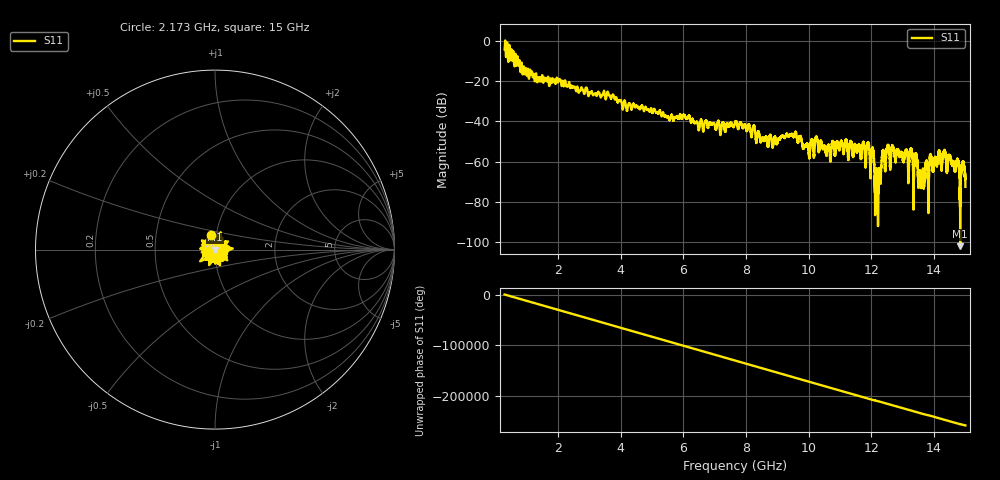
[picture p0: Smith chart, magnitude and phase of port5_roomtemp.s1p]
# GHZ S RI R 50.0
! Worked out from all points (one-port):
!   12801 points, 300 MHz to 15 GHz, reference 50 ohm
!   lowest |S11| = -102.2 dB at 14.83 GHz (marker M1), VSWR 1.00, Z = 50 + j0.000562 ohm
!   |S11| at or under -10 dB: 663.3 MHz to 701 MHz (37.66 MHz wide, 5.52 % of centre); 727.8 MHz to 765.3 MHz (37.53 MHz wide, 5.03 % of centre); 777.2 MHz to end of sweep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
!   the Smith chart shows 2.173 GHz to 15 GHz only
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0.3  0.6102 -0.1161
0.3803906  0.9238 0.0386
1.323258  0.0883 -0.0661
2.1375  0.0693 0.0467
3.975  0.0306 0.0142
5.8125  0.0134 -1.43e-05
7.65  0.00787 0.00528
8.654883  0.00396 0.000256
9.4875  0.00142 0.00434
9.98018  0.00147 0.00193
10.2581  -0.00285 0.00283
10.63709  -0.000545 -0.00255
11.325  0.00294 0.000893
11.89003  -0.00279 0.000771
12.03933  0.00123 0.00177
12.17484  -0.000479 0.000211
12.25868  0.000548 8.73e-05
12.33907  0.00133 1.98e-05
12.51823  -0.00118 0.00215
13.1625  -0.000156 0.001
13.43468  0.00117 -0.000955
13.55756  0.00012 -0.000458
13.91702  0.000559 -0.000987
14.32357  0.00175 0.000456
14.73586  0.00116 0.000183
14.83348  5.42e-06 5.62e-06
14.9265  0.000554 -0.000781
15  -0.000127 -0.000197
